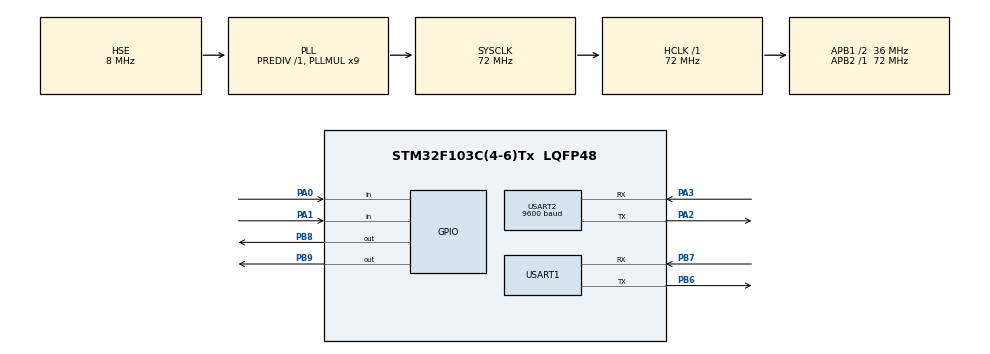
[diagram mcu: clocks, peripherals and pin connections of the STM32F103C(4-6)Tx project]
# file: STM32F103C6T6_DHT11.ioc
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Mcu.Family=STM32F1
Mcu.Name=STM32F103C(4-6)Tx
Mcu.Package=LQFP48
NVIC.PriorityGroup=NVIC_PRIORITYGROUP_4
NVIC.TIM2_IRQn=true\:0\:0\:false\:false\:true\:true\:true
NVIC.USART2_IRQn=true\:0\:0\:false\:false\:true\:true\:true
PA0-WKUP.GPIO_PuPd=GPIO_PULLDOWN
PA0-WKUP.Signal=GPIO_Input
PA1.GPIO_Mode=GPIO_MODE_INPUT
PA1.GPIO_PuPd=GPIO_PULLDOWN
PA1.Signal=GPIO_Input
PA13.Mode=Serial_Wire
PA13.Signal=SYS_JTMS-SWDIO
PA14.Mode=Serial_Wire
PA14.Signal=SYS_JTCK-SWCLK
PA2.Mode=Asynchronous
PA2.Signal=USART2_TX
PA3.Mode=Asynchronous
PA3.Signal=USART2_RX
PB6.Mode=Asynchronous
PB6.Signal=USART1_TX
PB7.Mode=Asynchronous
PB7.Signal=USART1_RX
PB8.Signal=GPIO_Output
PB9.Signal=GPIO_Output
PD0-OSC_IN.Mode=HSE-External-Oscillator
PD0-OSC_IN.Signal=RCC_OSC_IN
PD1-OSC_OUT.Mode=HSE-External-Oscillator
PD1-OSC_OUT.Signal=RCC_OSC_OUT
ProjectManager.HeapSize=0x200
ProjectManager.StackSize=0x400
ProjectManager.TargetToolchain=MDK-ARM V5.32
RCC.AHBFreq_Value=72000000
RCC.APB1CLKDivider=RCC_HCLK_DIV2
RCC.APB1Freq_Value=36000000
RCC.APB1TimFreq_Value=72000000
RCC.APB2Freq_Value=72000000
RCC.APB2TimFreq_Value=72000000
RCC.HCLKFreq_Value=72000000
RCC.PLLMUL=RCC_PLL_MUL9
RCC.PLLSourceVirtual=RCC_PLLSOURCE_HSE
RCC.SYSCLKFreq_VALUE=72000000
RCC.SYSCLKSource=RCC_SYSCLKSOURCE_PLLCLK
RCC.USBFreq_Value=72000000
TIM2.Period=100-1
TIM2.Prescaler=72-1
TIM3.Prescaler=72-1
USART1.VirtualMode=VM_ASYNC
USART2.BaudRate=9600
USART2.VirtualMode=VM_ASYNC
VP_TIM2_VS_ClockSourceINT.Mode=Internal
VP_TIM3_VS_ClockSourceINT.Mode=Internal
board=custom

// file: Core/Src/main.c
/* USER CODE BEGIN Header */
/**
  ******************************************************************************
  * @file           : main.c
  * @brief          : Main program body
  ******************************************************************************
  * @attention
  *
  * <h2><center>&copy; Copyright (c) 2022 STMicroelectronics.
  * All rights reserved.</center></h2>
  *
  * This software component is licensed by ST under BSD 3-Clause license,
  * the "License"; You may not use this file except in compliance with the
  * License. You may obtain a copy of the License at:
  *                        opensource.org/licenses/BSD-3-Clause
  *
  ******************************************************************************
  */
/* USER CODE END Header */
#include "main.h"
#include "tim.h"
#include "usart.h"
#include "gpio.h"

/* USER CODE BEGIN Includes */
	#include "stdio.h"
	#include "dht11.h"
	#include "oled.h"
	#include <stdbool.h>
/* USER CODE END Includes */

/* USER CODE BEGIN PTD */
struct student
{
	uint8_t longitude[9];//经度
	uint8_t latitude[9];//纬度
	uint8_t time[6];//时间
	bool connect;//连接
};

struct student demo;//经度纬度等信息

uint16_t temperature;//温度数据
uint16_t humidity;//湿度数据

uint8_t message[200] = {0}; //接收字符串缓冲区
uint8_t offset; //接收字符串缓冲区的下标及大小
uint8_t mesg; //用于中断时，接收单个字符
uint8_t RX_Flag; //发生中断的标志
uint8_t data[500];
uint8_t dem[10];

/* USER CODE END PTD */

/* USER CODE BEGIN PM */
uint32_t Distance_Calculate(uint32_t count)//传入时间单位100us
{
    uint32_t Distance = 0;
    Distance = (uint32_t)(((float)count *17)/10);//距离单位cm,声速340M/S，时间*速度/2=距离
    return Distance;
}

uint32_t Distance;//距离单位cm

uint32_t Distance1;//距离单位cm

uint32_t Timcounter;
uint32_t HalTime1,HalTime2;
extern volatile uint32_t TimeCounter;

/*超声波1,采集数据函数*/
void SR_04_1(){
		HAL_GPIO_WritePin(GPIOA, GPIO_PIN_0,GPIO_PIN_RESET);//预先拉低Trig引脚
		HAL_Delay(5);
		HAL_GPIO_WritePin(GPIOA, GPIO_PIN_0,GPIO_PIN_SET);//拉高Trig引脚
		Delay_us(20);
		HAL_GPIO_WritePin(GPIOA, GPIO_PIN_0,GPIO_PIN_RESET);//拉低Trig引脚
	 Delay_us(20);
		while(HAL_GPIO_ReadPin(GPIOA, GPIO_PIN_1) == 0);//读取PA1脉冲值
	 HalTime1= TimeCounter;
		while(HAL_GPIO_ReadPin(GPIOA, GPIO_PIN_1) == 1);
		if(TimeCounter>HalTime1)
		{
		HalTime2 = TimeCounter-HalTime1;
			if(HalTime2<0x300)
			{
		Distance = Distance_Calculate(HalTime2);//计算距离值，单位cm
			}
		}
}

/*GPS解析采集*/
void gather_GPS(){
		HAL_UART_Receive(&huart2,data,500,1000);
		for(int i=0;i<500;i++){
			if(data[i]=='$'&&data[i+1]=='G'&&data[i+2]=='N'&&data[i+3]=='R'&&data[i+4]=='M'&&data[i+5]=='C'){
					if(i+42>=500){
							break;
					}
					/*北纬转化*/
					OLED_ShowChar(0,0,data[i+20]);
					OLED_ShowChar(0+8,0,data[i+21]);
					OLED_ShowChar(0+8+8,0,data[i+22]);
					OLED_ShowChar(0+8+8+8,0,data[i+23]);
					OLED_ShowChar(0+8+8+8+8,0,data[i+24]);
					OLED_ShowChar(0+8+8+8+8+8,0,data[i+25]);
					OLED_ShowChar(0+8+8+8+8+8+8,0,data[i+26]);
					OLED_ShowChar(0+8+8+8+8+8+8+8,0,data[i+27]);
					OLED_ShowChar(0+8+8+8+8+8+8+8+8,0,data[i+28]);
					OLED_ShowChar(0+8+8+8+8+8+8+8+8+8,0,data[i+29]);
					OLED_ShowChar(0+8+8+8+8+8+8+8+8+8+8,0,data[i+19]);
					OLED_ShowChar(0+8+8+8+8+8+8+8+8+8+8+8,0,data[i+18]);
					demo.latitude[0]=data[i+20];
					demo.latitude[0]=data[i+21];
					demo.latitude[0]=data[i+22];
					demo.latitude[0]=data[i+23];
					demo.latitude[0]=data[i+24];
					demo.latitude[0]=data[i+25];
					demo.latitude[0]=data[i+26];
					demo.latitude[0]=data[i+27];
					demo.latitude[0]=data[i+28];
					demo.latitude[0]=data[i+29];
					/*东经转化*/
//					OLED_ShowChar(0,2,data[i+30]);
					OLED_ShowChar(0,2,data[i+31]);
					OLED_ShowChar(0+8,2,data[i+32]);
					OLED_ShowChar(0+8+8,2,data[i+33]);
					OLED_ShowChar(0+8+8+8,2,data[i+34]);
					OLED_ShowChar(0+8+8+8+8,2,data[i+35]);
					OLED_ShowChar(0+8+8+8+8+8,2,data[i+36]);
					OLED_ShowChar(0+8+8+8+8+8+8,2,data[i+37]);
					OLED_ShowChar(0+8+8+8+8+8+8+8,2,data[i+38]);
					OLED_ShowChar(0+8+8+8+8+8+8+8+8,2,data[i+39]);
					OLED_ShowChar(0+8+8+8+8+8+8+8+8+8,2,data[i+40]);
					OLED_ShowChar(0+8+8+8+8+8+8+8+8+8+8,2,data[i+41]);
					OLED_ShowChar(0+8+8+8+8+8+8+8+8+8+8+8,2,data[i+42]);
					demo.longitude[0]=data[i+33];
					demo.longitude[0]=data[i+34];
					demo.longitude[0]=data[i+35];
					demo.longitude[0]=data[i+36];
					demo.longitude[0]=data[i+37];
					demo.longitude[0]=data[i+38];
					demo.longitude[0]=data[i+39];
					demo.longitude[0]=data[i+40];
					demo.longitude[0]=data[i+41];
					demo.longitude[0]=data[i+42];
					/*时间转化*/
					OLED_ShowChar(0,4,data[i+7]);
					OLED_ShowChar(0+8,4,data[i+8]);
					OLED_ShowChar(0+8+8,4,data[i+9]);
					OLED_ShowChar(0+8+8+8,4,data[i+10]);
					OLED_ShowChar(0+8+8+8+8,4,data[i+11]);
					OLED_ShowChar(0+8+8+8+8+8,4,data[i+12]);
					demo.time[0]=data[i+7];
					demo.time[0]=data[i+8];
					demo.time[0]=data[i+9];
					demo.time[0]=data[i+10];
					demo.time[0]=data[i+11];
					demo.time[0]=data[i+12];
					HAL_Delay(10);
					break;
			}

			if(data[i]=='$'&&data[i+1]=='G'&&data[i+2]=='P'&&data[i+3]=='T'&&data[i+4]=='X'&&data[i+5]=='T'&&data[i+24]=='O'&&data[i+25]=='K'){
				if(i>25){break;}
				demo.connect=true;
				break;
			}
			else{
				demo.connect=false;
				break;
			}
		}
}
/*温湿度DHT11采集*/
void gather_DHT11(){
	DHT11_Read_Data(&temperature,&humidity);
	printf("DHT11 Temperature = %d.%d degree\r\n",temperature>>8,temperature&0xff);
	printf("DHT11 Humidity = %d.%d%%\r\n",humidity>>8,humidity&0xff);
}
/* USER CODE END PM */

void SystemClock_Config(void);

int main(void)
{

  /* MCU Configuration--------------------------------------------------------*/

  /* Reset of all peripherals, Initializes the Flash interface and the Systick. */
  HAL_Init();

  /* Configure the system clock */
  SystemClock_Config();

  /* Initialize all configured peripherals */
  MX_GPIO_Init();
  MX_TIM3_Init();
  MX_USART1_UART_Init();
  MX_USART2_UART_Init();
  MX_TIM2_Init();
  /* USER CODE BEGIN 2 */
	OLED_Init();
	lcd_showuint4(0,0,100);
  while(DHT11_Init()){
//	printf("DHT11 Checked failed!!!\r\n");
	HAL_Delay(500);
  }
//  printf("DHT11 Checked Sucess!!!\r\n");

	if (HAL_TIM_Base_Start_IT(&htim2) != HAL_OK)
 {
	 while(1);
 }
  /* USER CODE END 2 */

  /* Infinite loop */
  /* USER CODE BEGIN WHILE */
  while (1)
  {
//		SR_04_1();

		gather_DHT11();

		gather_GPS();

		HAL_Delay(1000);

		printf("温度：");
    /* USER CODE END WHILE */

  }
}

void SystemClock_Config(void)
{
  RCC_OscInitTypeDef RCC_OscInitStruct = {0};
  RCC_ClkInitTypeDef RCC_ClkInitStruct = {0};

  /** Initializes the RCC Oscillators according to the specified parameters
  * in the RCC_OscInitTypeDef structure.
  */
  RCC_OscInitStruct.OscillatorType = RCC_OSCILLATORTYPE_HSE;
  RCC_OscInitStruct.HSEState = RCC_HSE_ON;
  RCC_OscInitStruct.HSEPredivValue = RCC_HSE_PREDIV_DIV1;
  RCC_OscInitStruct.HSIState = RCC_HSI_ON;
  RCC_OscInitStruct.PLL.PLLState = RCC_PLL_ON;
  RCC_OscInitStruct.PLL.PLLSource = RCC_PLLSOURCE_HSE;
  RCC_OscInitStruct.PLL.PLLMUL = RCC_PLL_MUL9;
  if (HAL_RCC_OscConfig(&RCC_OscInitStruct) != HAL_OK)
  {
    Error_Handler();
  }
  /** Initializes the CPU, AHB and APB buses clocks
  */
  RCC_ClkInitStruct.ClockType = RCC_CLOCKTYPE_HCLK|RCC_CLOCKTYPE_SYSCLK
                              |RCC_CLOCKTYPE_PCLK1|RCC_CLOCKTYPE_PCLK2;
  RCC_ClkInitStruct.SYSCLKSource = RCC_SYSCLKSOURCE_PLLCLK;
  RCC_ClkInitStruct.AHBCLKDivider = RCC_SYSCLK_DIV1;
  RCC_ClkInitStruct.APB1CLKDivider = RCC_HCLK_DIV2;
  RCC_ClkInitStruct.APB2CLKDivider = RCC_HCLK_DIV1;

  if (HAL_RCC_ClockConfig(&RCC_ClkInitStruct, FLASH_LATENCY_2) != HAL_OK)
  {
    Error_Handler();
  }
}

/* USER CODE BEGIN 4 */
int fputc(int ch,FILE *f)
{
	HAL_UART_Transmit(&huart1,(uint8_t *) &ch,1,HAL_MAX_DELAY);
	return ch;
}
int fgetc(FILE *f)
{
	uint8_t ch;
	HAL_UART_Receive(&huart1,(uint8_t *)&ch,1,HAL_MAX_DELAY);
	return ch;
}
/* USER CODE END 4 */

void Error_Handler(void)
{
  __disable_irq();
  while (1)
  {
  }
}

/************************ (C) COPYRIGHT STMicroelectronics *****END OF FILE****/
